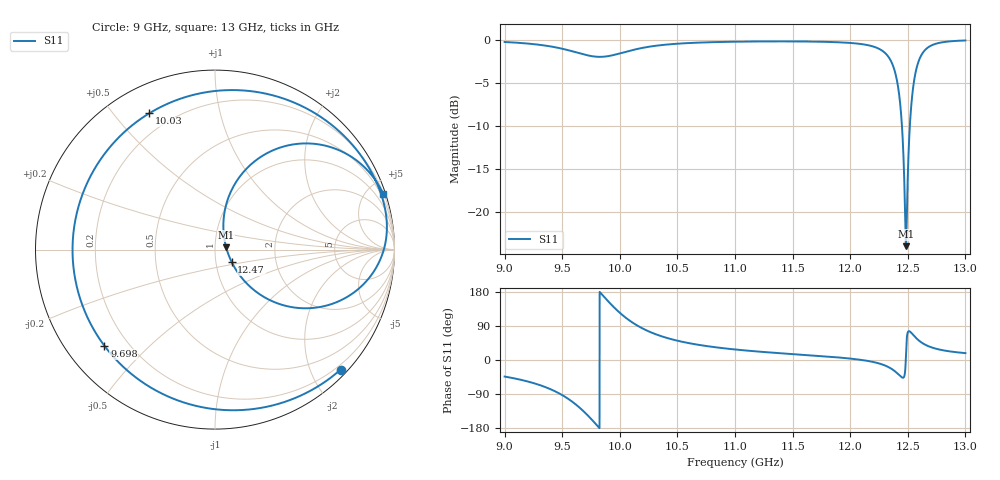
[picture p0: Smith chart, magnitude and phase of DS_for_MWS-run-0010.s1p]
! TOUCHSTONE file generated by CST DESIGN STUDIO
! Date and time: Tue Feb  4 17:58:53 2025
! Project name: C:\Work\MatlabApps\UnitCellOptimizationMatlab\CST\unitcell.cst
! Tree item: Tasks\Sweep1\SPara1\S-Parameters
! Header version: 2024
! Port assignment regex: !\s*Touchstone port\s*([0-9]+)\s*=\s*(CST MWS port|CST DES external port|CST DES block port)\s*(.+)\s* \(\"(.*)\"\)(\s*mode\s*([0-9]+))?.*
! Touchstone port assignment:
! Touchstone port 1 = CST DES external port 1 ("")
# GHz S MA R 50
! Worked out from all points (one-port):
!   4001 points, 9 GHz to 13 GHz, reference 50 ohm
!   lowest |S11| = -24.0 dB at 12.48 GHz (marker M1), VSWR 1.14, Z = 56.6 + j1.51 ohm
!   |S11| at or under -10 dB: 12.45 GHz to 12.52 GHz (68.65 MHz wide, 0.55 % of centre)
!   S11 on the Smith chart (normalised r, x): 9 GHz: 0.12, -2.49; 9.698 GHz: 0.11, -0.37; 10.03 GHz: 0.12, +0.62; 12.47 GHz: 1.19, -0.17; 13 GHz: 0.24, +6.25
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9  0.9677 -43.7
9.276  0.9368 -63.3
9.5  0.8848 -92.6
9.604  0.8493 -113.9
9.698  0.8166 -139.0
9.774  0.7981 -163.0
9.843  0.7942 173.6
10  0.831 124.6
10.034  0.843 115.8
10.134  0.8768 94.1
10.259  0.9097 74.4
10.5  0.946 50.9
11  0.9715 27.8
11.5  0.9753 15.6
12  0.9557 3.8
12.248  0.8854 -8.9
12.373  0.7013 -26.2
12.435  0.4171 -42.6
12.452  0.2944 -46.5
12.474  0.1157 -36.7
12.484  0.06345 12.1
12.5  0.162 73.1
12.518  0.3178 75.2
12.537  0.465 69.6
12.602  0.7727 50.0
12.662  0.8855 38.7
12.737  0.9426 30.4
13  0.988 18.2
